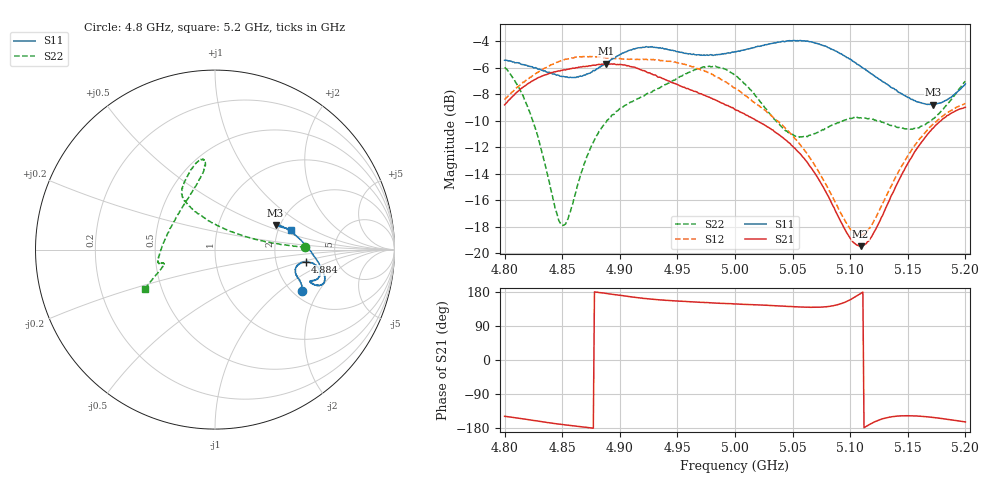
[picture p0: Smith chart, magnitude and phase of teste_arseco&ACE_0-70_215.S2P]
! Network Analyzer HP8722D
! Hewlett-Packard
! Data name: Linha & Wilkinson
! Saver's name: Rodrigo Anjos
! Comments: Teste da utilização de aquisição
! continua pelo VNA HP8722D
! Time and date: 8/5/2025 14:33
!  Frequency  S11  S21  S12  S22
# HZ  S  MA R 50
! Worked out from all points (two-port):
!   401 points, 4.8 GHz to 5.2 GHz, reference 50 ohm
!   highest |S21| = -5.69 dB at 4.888 GHz (marker M1); lowest = -19.5 dB at 5.109 GHz (marker M2)
!   |S21| within 3 dB of the highest: 4.801 GHz to 4.989 GHz (188.3 MHz wide, 3.85 % of centre)
!   lowest |S11| = -8.8 dB at 5.172 GHz (marker M3), VSWR 2.15, Z = 94.8 + j30 ohm
!   |S11| at or under -10 dB: nowhere
!   |S22| runs from -17.9 to -5.9 dB; largest |S21 - S12| = 1.1
!   S11 on the Smith chart (normalised r, x): 4.8 GHz: 2.24, -1.44; 4.884 GHz: 2.96, -0.55; 5.2 GHz: 2.33, +0.64
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4.8e9  0.5354 -25.2  0.3634 -148.6  0.3802 10.6  0.5029 1.5
4.812e9  0.5239 -22.3  0.4101 -153.5  0.4268 9.1  0.4245 2.7
4.823e9  0.5064 -20.5  0.4447 -158.5  0.4626 7.4  0.3294 6.2
4.845e9  0.4704 -16.9  0.4858 -168.3  0.5253 4.0  0.143 41.2
4.849e9  0.4655 -16.1  0.4905 -169.9  0.5335 3.3  0.1287 58.3
4.855e9  0.4614 -14.4  0.4955 -172.3  0.5417 2.3  0.1349 84.8
4.867e9  0.4657 -10.9  0.5051 -176.2  0.5507 0.7  0.204 112.2
4.884e9  0.5095 -7.8  0.5171 177.3  0.5476 -0.6  0.2968 121.2
4.888e9  0.5245 -7.6  0.5196 175.7  0.5466 -0.8  0.3121 121.7
4.913e9  0.5905 -10.8  0.5045 165.3  0.5392 -0.4  0.3776 119.2
4.934e9  0.5959 -15.4  0.4618 158.7  0.5367 -1.3  0.4197 113.4
4.973e9  0.5606 -18.4  0.3953 151.9  0.4897 -4.7  0.506 99.9
5e9  0.5765 -19.2  0.3486 147.9  0.421 -5.3  0.4702 97.1
5.044e9  0.6314 -17.5  0.2678 141.7  0.2954 3.1  0.2897 131.0
5.067e9  0.627 -13.4  0.2077 139.0  0.2229 9.5  0.2805 164.6
5.098e9  0.5471 -2.9  0.1176 156.0  0.1274 36.9  0.322 -170.4
5.109e9  0.5076 2.3  0.1064 175.3  0.117 58.5  0.3249 -167.2
5.118e9  0.4768 6.8  0.1146 -168.3  0.1267 76.1  0.3218 -166.1
5.134e9  0.4291 14.6  0.1585 -150.7  0.1736 94.8  0.3048 -165.7
5.155e9  0.3777 21.4  0.2372 -147.4  0.2515 101.8  0.2957 -164.0
5.172e9  0.3643 22.1  0.2968 -151.6  0.307 102.7  0.3221 -159.9
5.2e9  0.4357 14.9  0.3555 -163.4  0.3681 103.1  0.4461 -150.4
